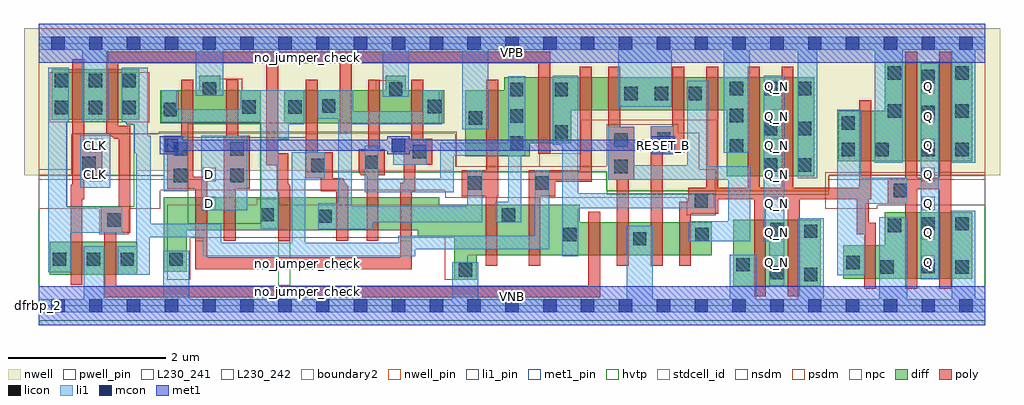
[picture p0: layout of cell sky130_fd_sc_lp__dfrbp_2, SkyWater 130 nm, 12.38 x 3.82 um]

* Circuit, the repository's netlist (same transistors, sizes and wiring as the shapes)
* Copyright 2020 The SkyWater PDK Authors
*
* Licensed under the Apache License, Version 2.0 (the "License");
* you may not use this file except in compliance with the License.
* You may obtain a copy of the License at
*
*     https://www.apache.org/licenses/LICENSE-2.0
*
* Unless required by applicable law or agreed to in writing, software
* distributed under the License is distributed on an "AS IS" BASIS,
* WITHOUT WARRANTIES OR CONDITIONS OF ANY KIND, either express or implied.
* See the License for the specific language governing permissions and
* limitations under the License.
*
* SPDX-License-Identifier: Apache-2.0

.SUBCKT sky130_fd_sc_lp__dfrbp_2 CLK D RESET_B VGND VNB VPB VPWR Q Q_N
*.PININFO CLK:I D:I RESET_B:I VGND:I VNB:I VPB:I VPWR:I Q:O Q_N:O
MI651 Q_N s0 VGND VNB sky130_fd_pr__nfet_01v8 m=2 w=0.84U l=0.15U mult=1 sa=0.265
+ sb=0.265 sd=0.28 area=0.063 perim=1.14
MI46 clkpos clkneg VGND VNB sky130_fd_pr__nfet_01v8 m=1 w=0.42U l=0.15U mult=1
+ sa=0.265 sb=0.265 sd=0.28 area=0.063 perim=1.14
MI42 db clkneg M0 VNB sky130_fd_pr__nfet_01v8 m=1 w=0.42U l=0.15U mult=1 sa=0.265
+ sb=0.265 sd=0.28 area=0.063 perim=1.14
MI656 net92 s0 net122 VNB sky130_fd_pr__nfet_01v8 m=1 w=0.42U l=0.15U mult=1 sa=0.265
+ sb=0.265 sd=0.28 area=0.063 perim=1.14
MI657 net122 RESET_B VGND VNB sky130_fd_pr__nfet_01v8 m=1 w=0.42U l=0.15U mult=1
+ sa=0.265 sb=0.265 sd=0.28 area=0.063 perim=1.14
MI33 net115 RESET_B VGND VNB sky130_fd_pr__nfet_01v8 m=1 w=0.42U l=0.15U mult=1
+ sa=0.265 sb=0.265 sd=0.28 area=0.063 perim=1.14
MI4 M0 clkpos net107 VNB sky130_fd_pr__nfet_01v8 m=1 w=0.42U l=0.15U mult=1 sa=0.265
+ sb=0.265 sd=0.28 area=0.063 perim=1.14
MI34 net107 M1 net115 VNB sky130_fd_pr__nfet_01v8 m=1 w=0.42U l=0.15U mult=1 sa=0.265
+ sb=0.265 sd=0.28 area=0.063 perim=1.14
MI655 s0 clkneg net91 VNB sky130_fd_pr__nfet_01v8 m=1 w=0.42U l=0.15U mult=1 sa=0.265
+ sb=0.265 sd=0.28 area=0.063 perim=1.14
MI652 net167 s0 VGND VNB sky130_fd_pr__nfet_01v8 m=1 w=0.42U l=0.15U mult=1 sa=0.265
+ sb=0.265 sd=0.28 area=0.063 perim=1.14
MI653 Q net167 VGND VNB sky130_fd_pr__nfet_01v8 m=2 w=0.84U l=0.15U mult=1 sa=0.265
+ sb=0.265 sd=0.28 area=0.063 perim=1.14
MI654 net91 net92 VGND VNB sky130_fd_pr__nfet_01v8 m=1 w=0.42U l=0.15U mult=1 sa=0.265
+ sb=0.265 sd=0.28 area=0.063 perim=1.14
MI44 clkneg CLK VGND VNB sky130_fd_pr__nfet_01v8 m=1 w=0.42U l=0.15U mult=1 sa=0.265
+ sb=0.265 sd=0.28 area=0.063 perim=1.14
MI647 M1 M0 VGND VNB sky130_fd_pr__nfet_01v8 m=1 w=0.64U l=0.15U mult=1 sa=0.265
+ sb=0.265 sd=0.28 area=0.063 perim=1.14
MI39 db D net75 VNB sky130_fd_pr__nfet_01v8 m=1 w=0.42U l=0.15U mult=1 sa=0.265
+ sb=0.265 sd=0.28 area=0.063 perim=1.14
MI38 net75 RESET_B VGND VNB sky130_fd_pr__nfet_01v8 m=1 w=0.42U l=0.15U mult=1
+ sa=0.265 sb=0.265 sd=0.28 area=0.063 perim=1.14
MI649 M1 clkpos s0 VNB sky130_fd_pr__nfet_01v8 m=1 w=0.64U l=0.15U mult=1 sa=0.265
+ sb=0.265 sd=0.28 area=0.063 perim=1.14
MI47 clkpos clkneg VPWR VPB sky130_fd_pr__pfet_01v8_hvt m=1 w=0.64U l=0.15U mult=1
+ sa=0.265 sb=0.265 sd=0.28 area=0.063 perim=1.14
MI43 db clkpos M0 VPB sky130_fd_pr__pfet_01v8_hvt m=1 w=0.42U l=0.15U mult=1 sa=0.265
+ sb=0.265 sd=0.28 area=0.063 perim=1.14
MI662 net195 net92 VPWR VPB sky130_fd_pr__pfet_01v8_hvt m=1 w=0.42U l=0.15U mult=1
+ sa=0.265 sb=0.265 sd=0.28 area=0.063 perim=1.14
MI659 net92 RESET_B VPWR VPB sky130_fd_pr__pfet_01v8_hvt m=1 w=0.42U l=0.15U mult=1
+ sa=0.265 sb=0.265 sd=0.28 area=0.063 perim=1.14
MI664 s0 clkpos net195 VPB sky130_fd_pr__pfet_01v8_hvt m=1 w=0.42U l=0.15U mult=1
+ sa=0.265 sb=0.265 sd=0.28 area=0.063 perim=1.14
MI658 net92 s0 VPWR VPB sky130_fd_pr__pfet_01v8_hvt m=1 w=0.42U l=0.15U mult=1
+ sa=0.265 sb=0.265 sd=0.28 area=0.063 perim=1.14
MI30 net174 M1 VPWR VPB sky130_fd_pr__pfet_01v8_hvt m=1 w=0.42U l=0.15U mult=1
+ sa=0.265 sb=0.265 sd=0.28 area=0.063 perim=1.14
MI31 M0 clkneg net174 VPB sky130_fd_pr__pfet_01v8_hvt m=1 w=0.42U l=0.15U mult=1
+ sa=0.265 sb=0.265 sd=0.28 area=0.063 perim=1.14
MI32 M0 RESET_B VPWR VPB sky130_fd_pr__pfet_01v8_hvt m=1 w=0.42U l=0.15U mult=1
+ sa=0.265 sb=0.265 sd=0.28 area=0.063 perim=1.14
MI663 net167 s0 VPWR VPB sky130_fd_pr__pfet_01v8_hvt m=1 w=0.64U l=0.15U mult=1
+ sa=0.265 sb=0.265 sd=0.28 area=0.063 perim=1.14
MI660 Q net167 VPWR VPB sky130_fd_pr__pfet_01v8_hvt m=2 w=1.26U l=0.15U mult=1
+ sa=0.265 sb=0.265 sd=0.28 area=0.063 perim=1.14
MI661 Q_N s0 VPWR VPB sky130_fd_pr__pfet_01v8_hvt m=2 w=1.26U l=0.15U mult=1 sa=0.265
+ sb=0.265 sd=0.28 area=0.063 perim=1.14
MI45 clkneg CLK VPWR VPB sky130_fd_pr__pfet_01v8_hvt m=1 w=0.64U l=0.15U mult=1
+ sa=0.265 sb=0.265 sd=0.28 area=0.063 perim=1.14
MI648 M1 M0 VPWR VPB sky130_fd_pr__pfet_01v8_hvt m=1 w=0.84U l=0.15U mult=1 sa=0.265
+ sb=0.265 sd=0.28 area=0.063 perim=1.14
MI41 db RESET_B VPWR VPB sky130_fd_pr__pfet_01v8_hvt m=1 w=0.42U l=0.15U mult=1
+ sa=0.265 sb=0.265 sd=0.28 area=0.063 perim=1.14
MI40 db D VPWR VPB sky130_fd_pr__pfet_01v8_hvt m=1 w=0.42U l=0.15U mult=1 sa=0.265
+ sb=0.265 sd=0.28 area=0.063 perim=1.14
MI650 M1 clkneg s0 VPB sky130_fd_pr__pfet_01v8_hvt m=1 w=0.84U l=0.15U mult=1 sa=0.265
+ sb=0.265 sd=0.28 area=0.063 perim=1.14
.ENDS sky130_fd_sc_lp__dfrbp_2

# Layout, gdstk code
import gdstk
lib = gdstk.Library(unit=1e-6, precision=1e-09)
def R(c, l, rs):  # rectangles x0, y0, x1, y1
    for r in rs: c.add(gdstk.rectangle(r[:2], r[2:], *l))
def A(c, l, x, y, w, h, nx, ny, dx, dy):  # array of equal rectangles
    R(c, l, [(x+i*dx, y+j*dy, x+i*dx+w, y+j*dy+h) for i in range(nx) for j in range(ny)])
def P(c, l, *ps):  # polygons
    for p in ps: c.add(gdstk.Polygon(p, *l))
nwell_pin = (64, 16)
nwell = (64, 20)
diff = (65, 20)
poly = (66, 20)
licon = (66, 44)
li1_pin = (67, 16)
li1 = (67, 20)
mcon = (67, 44)
met1_pin = (68, 16)
met1 = (68, 20)
hvtp = (78, 44)
stdcell_id = (81, 4)
nsdm = (93, 44)
psdm = (94, 20)
npc = (95, 20)
pwell_pin = (122, 16)
L230_241 = (230, 241)
L230_242 = (230, 242)
boundary2 = (236, 0)

sky130_fd_sc_lp__dfrbp_2 = lib.new_cell('sky130_fd_sc_lp__dfrbp_2')
R(sky130_fd_sc_lp__dfrbp_2, nwell_pin, [(0,3.085,12,3.33)])
P(sky130_fd_sc_lp__dfrbp_2, nwell, [(12.19,3.52),(-0.19,3.52),(-0.19,1.655),(1.245,1.655),(1.245,1.715),(5.245,1.715),(5.245,1.7),(7.2,1.7),(7.2,1.46),(10.015,1.46),(10.015,1.655),(12.19,1.655)])
R(sky130_fd_sc_lp__dfrbp_2, diff, [(8.805,0.25,9.915,1.09), (0.135,0.395,1.245,0.815), (0.16,2.36,1.27,3)])
P(sky130_fd_sc_lp__dfrbp_2, diff, [(2.81,2.735),(2.3,2.735),(2.3,2.915),(2.03,2.915),(2.03,2.735),(1.54,2.735),(1.54,2.315),(2.81,2.315)],
  [(5.14,2.735),(4.65,2.735),(4.65,2.915),(4.4,2.915),(4.4,2.735),(3.11,2.735),(3.11,2.315),(5.14,2.315)],
  [(8.535,1.06),(6.86,1.06),(6.86,1.28),(5.075,1.28),(5.075,1.375),(1.585,1.375),(1.585,0.43),(1.875,0.43),(1.875,0.955),(4.805,0.955),(4.805,0.86),(5.265,0.86),(5.265,0.33),(5.555,0.33),(5.555,0.64),(8.535,0.64)],
  [(9.835,2.9),(5.9,2.9),(5.9,2.735),(5.41,2.735),(5.41,1.895),(6.225,1.895),(6.225,2.06),(6.75,2.06),(6.75,2.48),(8.725,2.48),(8.725,1.64),(9.835,1.64)],
  [(11.835,3.095),(10.725,3.095),(10.725,2.475),(10.14,2.475),(10.14,1.835),(11.835,1.835)],
  [(11.835,1.185),(10.725,1.185),(10.725,0.765),(10.2,0.765),(10.2,0.345),(11.835,0.345)])
P(sky130_fd_sc_lp__dfrbp_2, poly, [(0.8,1.97),(0.575,1.97),(0.575,3.13),(0.425,3.13),(0.425,1.535),(0.4,1.535),(0.4,0.265),(0.55,0.265),(0.55,1.35),(0.575,1.35),(0.575,1.64),(0.8,1.64)],
  [(2.675,2.155),(2.525,2.155),(2.525,2.865),(2.375,2.865),(2.375,2.155),(2.345,2.155),(2.345,0.825),(2.495,0.825),(2.495,1.485),(2.675,1.485)],
  [(3.92,1.515),(3.91,1.515),(3.91,1.53),(3.9,1.53),(3.9,1.545),(3.89,1.545),(3.89,1.555),(3.88,1.555),(3.88,1.575),(3.87,1.575),(3.87,1.595),(3.86,1.595),(3.86,1.615),(3.725,1.615),(3.725,1.945),(3.535,1.945),(3.535,2.865),(3.385,2.865),(3.385,1.945),(3.375,1.945),(3.375,1.615),(3.575,1.615),(3.575,1.45),(3.77,1.45),(3.77,0.825),(3.92,0.825)],
  [(4.385,1.985),(4.325,1.985),(4.325,2.865),(4.175,2.865),(4.175,1.985),(4.055,1.985),(4.055,1.705),(4.06,1.705),(4.06,1.685),(4.07,1.685),(4.07,1.675),(4.08,1.675),(4.08,1.655),(4.155,1.655),(4.155,0.825),(4.305,0.825),(4.305,1.655),(4.385,1.655)],
  [(4.99,2.12),(4.875,2.12),(4.875,2.865),(4.725,2.865),(4.725,2.12),(4.625,2.12),(4.625,1.56),(4.58,1.56),(4.58,0.615),(2.135,0.615),(2.135,1.635),(1.96,1.635),(1.96,2.155),(1.955,2.155),(1.955,2.865),(1.805,2.865),(1.805,2.155),(1.63,2.155),(1.63,1.485),(1.985,1.485),(1.985,0.465),(4.73,0.465),(4.73,1.45),(4.775,1.45),(4.775,1.79),(4.99,1.79)],
  [(11.57,3.225),(11.42,3.225),(11.42,1.625),(11.14,1.625),(11.14,3.225),(10.99,3.225),(10.99,1.625),(10.765,1.625),(10.765,1.295),(10.99,1.295),(10.99,0.215),(11.14,0.215),(11.14,1.475),(11.42,1.475),(11.42,0.215),(11.57,0.215)],
  [(5.825,2.865),(5.675,2.865),(5.675,1.72),(5.36,1.72),(5.36,1.39),(5.665,1.39),(5.665,0.51),(5.815,0.51),(5.815,1.39),(5.825,1.39)],
  [(7.01,3.03),(6.86,3.03),(6.86,1.72),(6.21,1.72),(6.21,0.51),(6.36,0.51),(6.36,1.39),(6.55,1.39),(6.55,1.57),(7.01,1.57)],
  [(7.12,1.19),(6.97,1.19),(6.97,0.255),(0.98,0.255),(0.98,0.925),(1.16,0.925),(1.16,2.285),(1.005,2.285),(1.005,3.075),(2.885,3.075),(2.885,1.785),(3.015,1.785),(3.015,1.45),(3.035,1.45),(3.035,0.825),(3.185,0.825),(3.185,1.52),(3.18,1.52),(3.18,1.53),(3.175,1.53),(3.175,1.54),(3.17,1.54),(3.17,1.55),(3.165,1.55),(3.165,1.935),(3.035,1.935),(3.035,3.075),(3.815,3.075),(3.815,2.185),(3.965,2.185),(3.965,3.075),(6.335,3.075),(6.335,1.93),(6.485,1.93),(6.485,3.225),(0.855,3.225),(0.855,2.18),(0.89,2.18),(0.89,2.16),(0.91,2.16),(0.91,2.15),(0.93,2.15),(0.93,2.135),(0.95,2.135),(0.95,2.12),(1.01,2.12),(1.01,1.255),(0.785,1.255),(0.785,0.925),(0.83,0.925),(0.83,0.105),(7.12,0.105)],
  [(7.55,2.27),(7.37,2.27),(7.37,3.03),(7.22,3.03),(7.22,1.6),(7.33,1.6),(7.33,0.51),(7.48,0.51),(7.48,1.6),(7.55,1.6)],
  [(8.185,3.03),(8.035,3.03),(8.035,2.28),(7.76,2.28),(7.76,0.51),(7.91,0.51),(7.91,1.95),(8.185,1.95)],
  [(10.615,1.055),(10.525,1.055),(10.525,1.35),(10.555,1.35),(10.555,2.605),(10.405,2.605),(10.405,1.5),(9.57,1.5),(9.57,3.03),(9.42,3.03),(9.42,1.5),(9.14,1.5),(9.14,3.03),(8.99,3.03),(8.99,1.5),(8.615,1.5),(8.615,3.03),(8.465,3.03),(8.465,1.5),(8.235,1.5),(8.235,1.32),(8.12,1.32),(8.12,0.51),(8.27,0.51),(8.27,1.17),(8.615,1.17),(8.615,1.35),(9.07,1.35),(9.07,0.12),(9.22,0.12),(9.22,1.35),(9.5,1.35),(9.5,0.12),(9.65,0.12),(9.65,1.35),(10.375,1.35),(10.375,0.905),(10.465,0.905),(10.465,0.215),(10.615,0.215)])
A(sky130_fd_sc_lp__dfrbp_2, licon, 0.175, 0.505, 0.17, 0.17, 3, 1, 0.43, 0)
A(sky130_fd_sc_lp__dfrbp_2, licon, 5.975, 1.98, 0.17, 0.17, 1, 3, 0, 0.34)
A(sky130_fd_sc_lp__dfrbp_2, licon, 0.2, 2.43, 0.17, 0.17, 3, 2, 0.43, 0.34)
A(sky130_fd_sc_lp__dfrbp_2, licon, 8.765, 2.67, 0.17, 0.17, 3, 1, 0.43, 0)
R(sky130_fd_sc_lp__dfrbp_2, licon, [(9.705,0.31,9.875,0.48), (9.275,0.335,9.445,0.505), (5.325,0.37,5.495,0.54), (10.67,0.405,10.84,0.575), (11.625,0.405,11.795,0.575), (11.195,0.415,11.365,0.585), (8.845,0.435,9.015,0.605), (10.24,0.465,10.41,0.635), (1.655,0.505,1.825,0.675), (7.535,0.765,7.705,0.935), (6.65,0.82,6.82,0.99), (8.325,0.82,8.495,0.99), (9.705,0.86,9.875,1.03), (9.275,0.88,9.445,1.05), (10.765,0.935,10.935,1.105), (11.195,0.955,11.365,1.125), (11.625,0.955,11.795,1.125), (0.865,1.005,1.035,1.175), (3.545,1.05,3.715,1.22), (2.81,1.07,2.98,1.24), (5.87,1.07,6.04,1.24), (8.315,1.25,8.485,1.42), (10.845,1.375,11.015,1.545), (5.44,1.47,5.61,1.64), (6.3,1.47,6.47,1.64), (1.71,1.565,1.88,1.735), (2.425,1.565,2.595,1.735), (7.3,1.68,7.47,1.85), (3.455,1.695,3.625,1.865), (9.195,1.7,9.365,1.87), (9.625,1.7,9.795,1.87), (0.55,1.72,0.72,1.89), (4.135,1.735,4.305,1.905), (4.74,1.87,4.91,2.04), (10.18,1.895,10.35,2.065), (10.61,1.895,10.78,2.065), (11.195,1.895,11.365,2.065), (11.625,1.895,11.795,2.065), (1.71,1.905,1.88,2.075), (2.425,1.905,2.595,2.075), (8.765,1.94,8.935,2.11), (7.3,2.02,7.47,2.19), (7.84,2.03,8.01,2.2), (6.54,2.12,6.71,2.29), (9.195,2.165,9.365,2.335), (9.625,2.165,9.795,2.335), (10.18,2.235,10.35,2.405), (5.45,2.295,5.62,2.465), (8.765,2.33,8.935,2.5), (11.195,2.37,11.365,2.54), (10.765,2.385,10.935,2.555), (11.625,2.385,11.795,2.555), (1.58,2.405,1.75,2.575), (2.58,2.435,2.75,2.605), (3.16,2.435,3.33,2.605), (4.93,2.445,5.1,2.615), (3.59,2.45,3.76,2.62), (7.425,2.605,7.595,2.775), (7.81,2.605,7.98,2.775), (8.24,2.605,8.41,2.775), (6.54,2.66,6.71,2.83), (2.08,2.665,2.25,2.835), (4.44,2.665,4.61,2.835), (11.195,2.825,11.365,2.995), (10.765,2.865,10.935,3.035), (11.625,2.865,11.795,3.035)])
A(sky130_fd_sc_lp__dfrbp_2, li1_pin, 9.275, 0.47, 0.17, 0.17, 1, 7, 0, 0.37)
A(sky130_fd_sc_lp__dfrbp_2, li1_pin, 11.195, 0.47, 0.17, 0.17, 1, 7, 0, 0.37)
R(sky130_fd_sc_lp__dfrbp_2, li1_pin, [(2.075,1.21,2.245,1.38), (0.635,1.58,0.805,1.75), (2.075,1.58,2.245,1.75), (0.635,1.95,0.805,2.12)])
R(sky130_fd_sc_lp__dfrbp_2, li1, [(11.185,0.335,11.41,3.075), (2.06,1.21,2.64,2.155), (1.585,1.45,1.89,2.155), (0.525,1.495,0.905,2.165), (7.76,1.95,8.05,2.28)])
P(sky130_fd_sc_lp__dfrbp_2, li1, [(1.055,1.255),(0.355,1.255),(0.355,2.335),(0.38,2.335),(0.38,3.02),(0.12,3.02),(0.12,0.425),(0.4,0.425),(0.4,0.925),(1.055,0.925)],
  [(11.015,1.625),(10.43,1.625),(10.43,2.485),(10.125,2.485),(10.125,0.385),(10.49,0.385),(10.49,1.295),(11.015,1.295)],
  [(3.365,2.735),(2.56,2.735),(2.56,2.495),(1.75,2.495),(1.75,2.735),(1.55,2.735),(1.55,2.325),(2.81,2.325),(2.81,0.98),(3.035,0.98),(3.035,2.115),(3.17,2.115),(3.17,2.3),(3.365,2.3)],
  [(4.92,2.12),(4.475,2.12),(4.475,1.95),(4.495,1.95),(4.495,1.79),(4.92,1.79)],
  [(5.62,1.72),(5.43,1.72),(5.43,1.26),(3.965,1.26),(3.965,2.3),(5.115,2.3),(5.115,2.735),(4.87,2.735),(4.87,2.47),(3.985,2.47),(3.985,2.735),(3.535,2.735),(3.535,2.37),(3.795,2.37),(3.795,1.3),(3.545,1.3),(3.545,0.97),(4.235,0.97),(4.235,1.06),(5.62,1.06)],
  [(12,3.415),(0,3.415),(0,3.245),(0.55,3.245),(0.55,2.335),(0.88,2.335),(0.88,3.245),(1.99,3.245),(1.99,2.665),(2.34,2.665),(2.34,3.245),(4.36,3.245),(4.36,2.65),(4.69,2.65),(4.69,3.245),(5.37,3.245),(5.37,2.24),(5.7,2.24),(5.7,3.245),(7.345,3.245),(7.345,2.525),(8.025,2.525),(8.025,3.245),(8.685,3.245),(8.685,1.94),(9.015,1.94),(9.015,3.245),(9.625,3.245),(9.625,1.62),(9.875,1.62),(9.875,3.245),(10.6,3.245),(10.6,1.815),(10.955,1.815),(10.955,3.245),(11.58,3.245),(11.58,1.815),(11.875,1.815),(11.875,3.245),(12,3.245)],
  [(6.165,2.91),(5.95,2.91),(5.95,2.07),(5.09,2.07),(5.09,1.61),(4.305,1.61),(4.305,2.03),(4.135,2.03),(4.135,1.44),(5.26,1.44),(5.26,1.9),(5.95,1.9),(5.95,1.32),(5.79,1.32),(5.79,1.06),(6.12,1.06),(6.12,1.9),(6.165,1.9)],
  [(6.47,1.72),(6.29,1.72),(6.29,0.89),(4.56,0.89),(4.56,0.8),(3.375,0.8),(3.375,1.615),(3.625,1.615),(3.625,1.945),(3.205,1.945),(3.205,0.8),(2.315,0.8),(2.315,1.04),(1.415,1.04),(1.415,2.155),(1.38,2.155),(1.38,3.02),(1.05,3.02),(1.05,2.335),(1.11,2.335),(1.11,2.305),(1.21,2.305),(1.21,1.935),(1.235,1.935),(1.235,0.755),(1,0.755),(1,0.395),(1.405,0.395),(1.405,0.87),(2.075,0.87),(2.075,0.63),(4.775,0.63),(4.775,0.72),(6.47,0.72)],
  [(12,0.085),(11.875,0.085),(11.875,1.205),(11.58,1.205),(11.58,0.085),(11.015,0.085),(11.015,1.125),(10.66,1.125),(10.66,0.085),(9.955,0.085),(9.955,1.11),(9.625,1.11),(9.625,0.085),(9.095,0.085),(9.095,0.65),(8.765,0.65),(8.765,0.085),(7.785,0.085),(7.785,1.015),(7.455,1.015),(7.455,0.085),(5.575,0.085),(5.575,0.55),(5.245,0.55),(5.245,0.085),(1.905,0.085),(1.905,0.7),(1.575,0.7),(1.575,0.085),(0.83,0.085),(0.83,0.755),(0.57,0.755),(0.57,0.085),(0,0.085),(0,-0.085),(12,-0.085)],
  [(8.565,1.43),(6.84,1.43),(6.84,2.915),(6.52,2.915),(6.52,2.04),(6.64,2.04),(6.64,0.63),(6.84,0.63),(6.84,1.24),(8.565,1.24)],
  [(9.025,1.77),(8.49,1.77),(8.49,2.855),(8.22,2.855),(8.22,1.78),(7.55,1.78),(7.55,2.27),(7.22,2.27),(7.22,1.6),(8.745,1.6),(8.745,1.07),(8.245,1.07),(8.245,0.82),(9.025,0.82)],
  [(9.455,2.92),(9.195,2.92),(9.195,0.82),(9.265,0.82),(9.265,0.255),(9.455,0.255)])
A(sky130_fd_sc_lp__dfrbp_2, mcon, 0.155, -0.085, 0.17, 0.17, 25, 2, 0.48, 3.33)
R(sky130_fd_sc_lp__dfrbp_2, mcon, [(1.595,1.95,1.765,2.12), (4.475,1.95,4.645,2.12), (7.835,1.95,8.005,2.12)])
R(sky130_fd_sc_lp__dfrbp_2, met1_pin, [(0,0,12,0.245), (7.835,1.95,8.005,2.12), (0,3.085,12,3.33)])
R(sky130_fd_sc_lp__dfrbp_2, met1, [(0,-0.245,12,0.245), (0,3.085,12,3.575)])
P(sky130_fd_sc_lp__dfrbp_2, met1, [(8.065,2.15),(7.775,2.15),(7.775,2.105),(4.705,2.105),(4.705,2.15),(4.415,2.15),(4.415,2.105),(1.825,2.105),(1.825,2.15),(1.535,2.15),(1.535,1.92),(1.825,1.92),(1.825,1.965),(4.415,1.965),(4.415,1.92),(4.705,1.92),(4.705,1.965),(7.775,1.965),(7.775,1.92),(8.065,1.92)])
P(sky130_fd_sc_lp__dfrbp_2, hvtp, [(12,3.33),(0,3.33),(0,1.6),(7.2,1.6),(7.2,1.405),(10.015,1.405),(10.015,1.6),(12,1.6)])
R(sky130_fd_sc_lp__dfrbp_2, stdcell_id, [(0,0,12,3.33)])
P(sky130_fd_sc_lp__dfrbp_2, nsdm, [(12,1.655),(10.015,1.655),(10.015,1.46),(7.2,1.46),(7.2,1.7),(3.39,1.7),(3.39,2.135),(1.585,2.135),(1.585,1.655),(0,1.655),(0,-0.19),(12,-0.19)])
P(sky130_fd_sc_lp__dfrbp_2, psdm, [(12,3.52),(0,3.52),(0,1.655),(0.415,1.655),(0.415,2.185),(5.28,2.185),(5.28,1.765),(6.355,1.765),(6.355,1.93),(6.88,1.93),(6.88,2.35),(8.595,2.35),(8.595,1.46),(10.015,1.46),(10.015,1.655),(12,1.655)])
P(sky130_fd_sc_lp__dfrbp_2, npc, [(12,1.695),(9.975,1.695),(9.975,1.23),(10.635,1.23),(10.635,1.275),(12,1.275)],
  [(8.585,1.73),(8.375,1.73),(8.375,2.195),(8.11,2.195),(8.11,2.3),(7.2,2.3),(7.2,1.77),(5.3,1.77),(5.3,2.205),(1.52,2.205),(1.52,2.185),(0.425,2.185),(0.425,1.73),(0,1.73),(0,1.23),(0.765,1.23),(0.765,0.905),(1.14,0.905),(1.14,1.23),(1.54,1.23),(1.54,1.465),(5.155,1.465),(5.155,1.37),(8.215,1.37),(8.215,1.15),(8.585,1.15)])
R(sky130_fd_sc_lp__dfrbp_2, pwell_pin, [(0,0,12,0.245)])
R(sky130_fd_sc_lp__dfrbp_2, L230_241, [(0.135,0.395,1.245,0.815), (0.525,1.495,0.905,2.165), (0.135,2.325,1.4,2.965)])
P(sky130_fd_sc_lp__dfrbp_2, L230_241, [(5.075,2.735),(4.56,2.735),(4.56,2.86),(4.27,2.86),(4.27,2.735),(2.58,2.735),(2.58,2.88),(2.29,2.88),(2.29,2.735),(1.765,2.735),(1.765,2.315),(5.075,2.315)],
  [(8.535,1.06),(6.86,1.06),(6.86,1.28),(3.05,1.28),(3.05,1.36),(2.76,1.36),(2.76,1.28),(2.64,1.28),(2.64,2.14),(2.06,2.14),(2.06,1.28),(1.63,1.28),(1.63,0.33),(1.92,0.33),(1.92,0.86),(5.15,0.86),(5.15,0.33),(5.44,0.33),(5.44,0.64),(8.535,0.64)])
R(sky130_fd_sc_lp__dfrbp_2, L230_242, [(3.035,0.255,3.185,0.825), (1.89,1.04,2.81,2.31)])
P(sky130_fd_sc_lp__dfrbp_2, L230_242, [(4.73,0.825),(4.58,0.825),(4.58,0.615),(2.135,0.615),(2.135,0.825),(1.985,0.825),(1.985,0.465),(4.73,0.465)],
  [(1.21,2.305),(1.11,2.305),(1.11,2.335),(0.355,2.335),(0.355,1.255),(1.21,1.255)])
R(sky130_fd_sc_lp__dfrbp_2, boundary2, [(0,0,12,3.33)])
sky130_fd_sc_lp__dfrbp_2.add(gdstk.Label('VNB', (6,0.123), layer=64, texttype=59))
sky130_fd_sc_lp__dfrbp_2.add(gdstk.Label('VPB', (6,3.208), layer=64, texttype=5))
sky130_fd_sc_lp__dfrbp_2.add(gdstk.Label('no_jumper_check', (3.4,0.18), layer=83, texttype=44))
sky130_fd_sc_lp__dfrbp_2.add(gdstk.Label('no_jumper_check', (3.4,0.54), layer=83, texttype=44))
sky130_fd_sc_lp__dfrbp_2.add(gdstk.Label('no_jumper_check', (3.4,3.15), layer=83, texttype=44))
sky130_fd_sc_lp__dfrbp_2.add(gdstk.Label('dfrbp_2', (0,0), layer=83, texttype=44))
sky130_fd_sc_lp__dfrbp_2.add(gdstk.Label('RESET_B', (7.92,2.035), layer=68, texttype=5))
sky130_fd_sc_lp__dfrbp_2.add(gdstk.Label('VPWR', (6,3.208), layer=68, texttype=5))
sky130_fd_sc_lp__dfrbp_2.add(gdstk.Label('VGND', (6,0.123), layer=68, texttype=5))
sky130_fd_sc_lp__dfrbp_2.add(gdstk.Label('CLK', (0.72,1.665), layer=67, texttype=5))
sky130_fd_sc_lp__dfrbp_2.add(gdstk.Label('CLK', (0.72,2.035), layer=67, texttype=5))
sky130_fd_sc_lp__dfrbp_2.add(gdstk.Label('Q', (11.28,0.555), layer=67, texttype=5))
sky130_fd_sc_lp__dfrbp_2.add(gdstk.Label('Q', (11.28,0.925), layer=67, texttype=5))
sky130_fd_sc_lp__dfrbp_2.add(gdstk.Label('Q', (11.28,1.295), layer=67, texttype=5))
sky130_fd_sc_lp__dfrbp_2.add(gdstk.Label('Q', (11.28,1.665), layer=67, texttype=5))
sky130_fd_sc_lp__dfrbp_2.add(gdstk.Label('Q', (11.28,2.035), layer=67, texttype=5))
sky130_fd_sc_lp__dfrbp_2.add(gdstk.Label('Q', (11.28,2.405), layer=67, texttype=5))
sky130_fd_sc_lp__dfrbp_2.add(gdstk.Label('Q', (11.28,2.775), layer=67, texttype=5))
sky130_fd_sc_lp__dfrbp_2.add(gdstk.Label('Q_N', (9.36,0.555), layer=67, texttype=5))
sky130_fd_sc_lp__dfrbp_2.add(gdstk.Label('Q_N', (9.36,0.925), layer=67, texttype=5))
sky130_fd_sc_lp__dfrbp_2.add(gdstk.Label('Q_N', (9.36,1.295), layer=67, texttype=5))
sky130_fd_sc_lp__dfrbp_2.add(gdstk.Label('Q_N', (9.36,1.665), layer=67, texttype=5))
sky130_fd_sc_lp__dfrbp_2.add(gdstk.Label('Q_N', (9.36,2.035), layer=67, texttype=5))
sky130_fd_sc_lp__dfrbp_2.add(gdstk.Label('Q_N', (9.36,2.405), layer=67, texttype=5))
sky130_fd_sc_lp__dfrbp_2.add(gdstk.Label('Q_N', (9.36,2.775), layer=67, texttype=5))
sky130_fd_sc_lp__dfrbp_2.add(gdstk.Label('D', (2.16,1.295), layer=67, texttype=5))
sky130_fd_sc_lp__dfrbp_2.add(gdstk.Label('D', (2.16,1.665), layer=67, texttype=5))

lib.write_gds('sky130_fd_sc_lp__dfrbp_2.gds')
